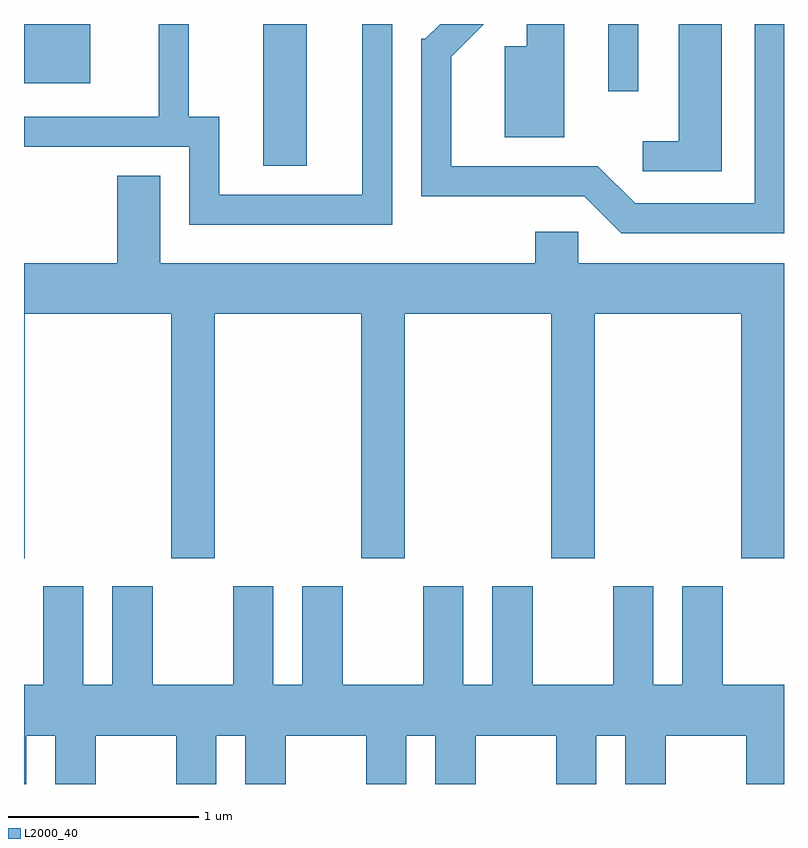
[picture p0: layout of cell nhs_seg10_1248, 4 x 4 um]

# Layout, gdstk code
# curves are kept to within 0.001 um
import gdstk
lib = gdstk.Library(unit=1e-6, precision=1e-09)
def R(c, l, rs):  # rectangles x0, y0, x1, y1
    for r in rs: c.add(gdstk.rectangle(r[:2], r[2:], *l))
def P(c, l, *ps):  # polygons
    for p in ps: c.add(gdstk.Polygon(p, *l))
L2000_40 = (2000, 40)

nhs_seg10_1248 = lib.new_cell('nhs_seg10_1248')
R(nhs_seg10_1248, L2000_40, [(222.871,2145.776,223.099,2146.522), (224.686,2146.168,224.844,2146.522), (221.611,2146.211,221.959,2146.522)])
P(nhs_seg10_1248, L2000_40, [(225.284,2146.522),(225.056,2146.522),(225.056,2145.904),(224.868,2145.904),(224.868,2145.746),(225.284,2145.746)],
  [(225.611,2146.522),(225.456,2146.522),(225.456,2145.579),(224.827,2145.579),(224.632,2145.774),(223.859,2145.774),(223.859,2146.349),(224.032,2146.522),(223.801,2146.522),(223.724,2146.444),(223.701,2146.444),(223.701,2145.616),(224.559,2145.616),(224.754,2145.421),(225.611,2145.421)],
  [(224.454,2146.522),(224.256,2146.522),(224.256,2146.404),(224.141,2146.404),(224.141,2145.926),(224.454,2145.926)],
  [(223.549,2146.522),(223.391,2146.522),(223.391,2145.624),(222.639,2145.624),(222.639,2146.034),(222.479,2146.034),(222.479,2146.522),(222.321,2146.522),(222.321,2146.034),(221.611,2146.034),(221.611,2145.876),(222.481,2145.876),(222.481,2145.466),(223.549,2145.466)],
  [(221.614,2144.996),(222.386,2144.996),(222.386,2143.711),(222.614,2143.711),(222.614,2144.996),(223.386,2144.996),(223.386,2143.711),(223.614,2143.711),(223.614,2144.996),(224.386,2144.996),(224.386,2143.711),(224.614,2143.711),(224.614,2144.996),(225.386,2144.996),(225.386,2143.711),(225.611,2143.711),(225.611,2145.264),(224.529,2145.264),(224.529,2145.429),(224.301,2145.429),(224.301,2145.264),(222.329,2145.264),(222.329,2145.724),(222.101,2145.724),(222.101,2145.264),(221.611,2145.264),(221.611,2143.711),(221.614,2143.711)],
  [(221.624,2142.776),(221.776,2142.776),(221.776,2142.522),(221.989,2142.522),(221.989,2142.776),(222.411,2142.776),(222.411,2142.522),(222.624,2142.522),(222.624,2142.776),(222.776,2142.776),(222.776,2142.522),(222.989,2142.522),(222.989,2142.776),(223.411,2142.776),(223.411,2142.522),(223.624,2142.522),(223.624,2142.776),(223.776,2142.776),(223.776,2142.522),(223.989,2142.522),(223.989,2142.776),(224.411,2142.776),(224.411,2142.522),(224.624,2142.522),(224.624,2142.776),(224.776,2142.776),(224.776,2142.522),(224.989,2142.522),(224.989,2142.776),(225.411,2142.776),(225.411,2142.522),(225.611,2142.522),(225.611,2143.044),(225.289,2143.044),(225.289,2143.564),(225.076,2143.564),(225.076,2143.044),(224.924,2143.044),(224.924,2143.564),(224.711,2143.564),(224.711,2143.044),(224.289,2143.044),(224.289,2143.564),(224.076,2143.564),(224.076,2143.044),(223.924,2143.044),(223.924,2143.564),(223.711,2143.564),(223.711,2143.044),(223.289,2143.044),(223.289,2143.564),(223.076,2143.564),(223.076,2143.044),(222.924,2143.044),(222.924,2143.564),(222.711,2143.564),(222.711,2143.044),(222.289,2143.044),(222.289,2143.564),(222.076,2143.564),(222.076,2143.044),(221.924,2143.044),(221.924,2143.564),(221.711,2143.564),(221.711,2143.044),(221.611,2143.044),(221.611,2142.522),(221.624,2142.522)])

lib.write_gds('nhs_seg10_1248.gds')
